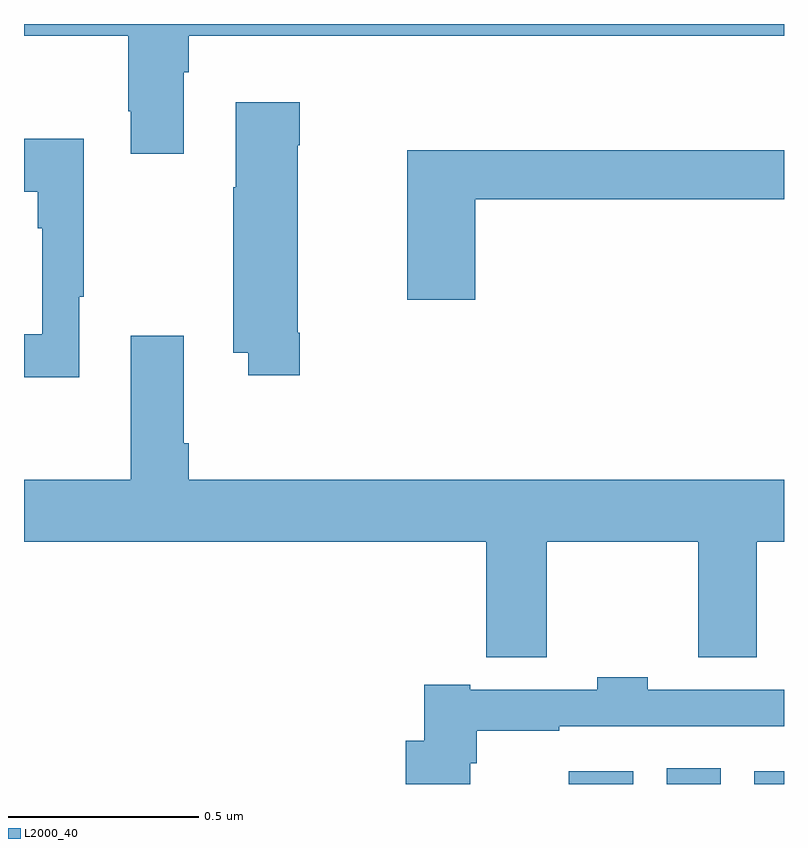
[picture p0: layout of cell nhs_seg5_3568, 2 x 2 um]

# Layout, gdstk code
import gdstk
lib = gdstk.Library(unit=1e-6, precision=1e-09)
def R(c, l, rs):  # rectangles x0, y0, x1, y1
    for r in rs: c.add(gdstk.rectangle(r[:2], r[2:], *l))
def P(c, l, *ps):  # polygons
    for p in ps: c.add(gdstk.Polygon(p, *l))
L2000_40 = (2000, 40)

nhs_seg5_3568 = lib.new_cell('nhs_seg5_3568')
R(nhs_seg5_3568, L2000_40, [(160.433,846.799,160.603,846.832), (160.691,846.799,160.834,846.841), (160.922,846.799,161,846.832)])
P(nhs_seg5_3568, L2000_40, [(159.421,848.672),(159.434,848.672),(159.434,848.768),(161,848.768),(161,848.799),(159,848.799),(159,848.768),(159.274,848.768),(159.274,848.569),(159.281,848.569),(159.281,848.457),(159.421,848.457)],
  [(159.725,847.987),(159.72,847.987),(159.72,848.48),(159.725,848.48),(159.725,848.593),(159.557,848.593),(159.557,848.369),(159.55,848.369),(159.55,847.934),(159.59,847.934),(159.59,847.875),(159.725,847.875)],
  [(159.145,848.081),(159.157,848.081),(159.157,848.497),(159,848.497),(159,848.357),(159.036,848.357),(159.036,848.261),(159.048,848.261),(159.048,847.982),(159,847.982),(159,847.869),(159.145,847.869)],
  [(160.187,848.338),(161,848.338),(161,848.467),(160.009,848.467),(160.009,848.073),(160.187,848.073)],
  [(160.376,847.436),(160.774,847.436),(160.774,847.132),(160.928,847.132),(160.928,847.436),(161,847.436),(161,847.6),(159.434,847.6),(159.434,847.696),(159.421,847.696),(159.421,847.978),(159.281,847.978),(159.281,847.6),(159,847.6),(159,847.436),(160.217,847.436),(160.217,847.132),(160.376,847.132)],
  [(160.174,846.854),(160.192,846.854),(160.192,846.939),(160.409,846.939),(160.409,846.951),(161,846.951),(161,847.047),(160.641,847.047),(160.641,847.08),(160.509,847.08),(160.509,847.047),(160.174,847.047),(160.174,847.06),(160.053,847.06),(160.053,846.913),(160.004,846.913),(160.004,846.799),(160.174,846.799)])

lib.write_gds('nhs_seg5_3568.gds')
